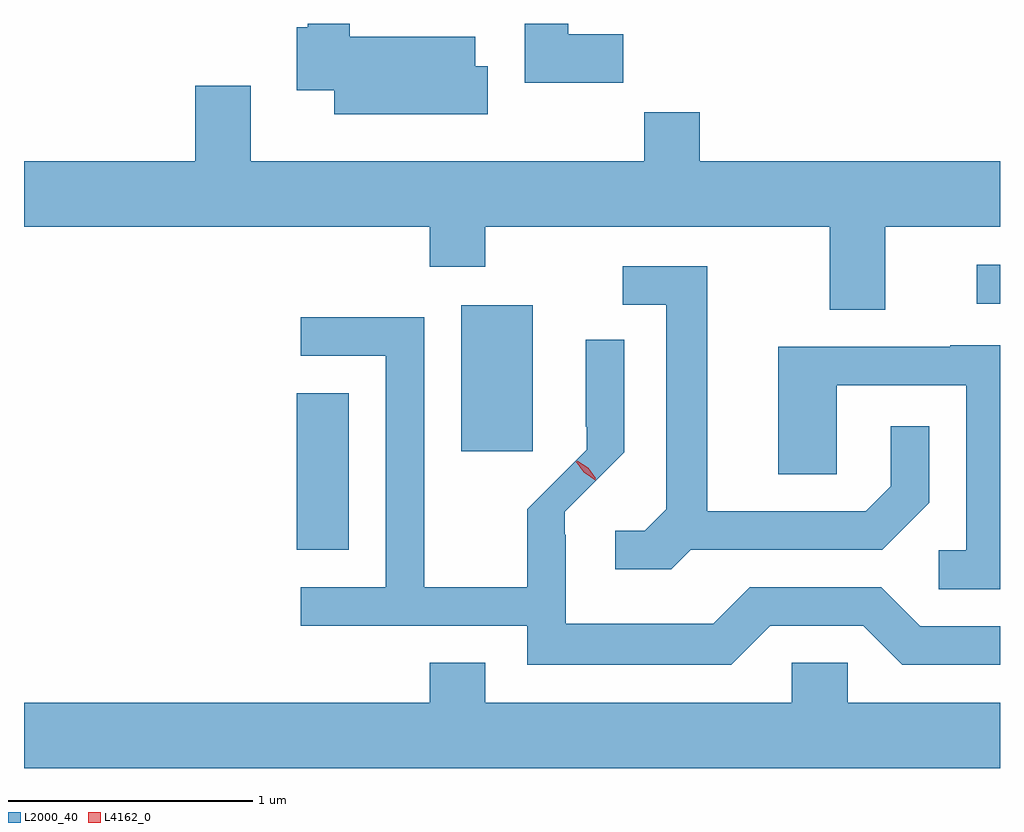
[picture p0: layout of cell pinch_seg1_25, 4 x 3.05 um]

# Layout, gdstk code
import gdstk
lib = gdstk.Library(unit=1e-6, precision=1e-09)
def R(c, l, rs):  # rectangles x0, y0, x1, y1
    for r in rs: c.add(gdstk.rectangle(r[:2], r[2:], *l))
def P(c, l, *ps):  # polygons
    for p in ps: c.add(gdstk.Polygon(p, *l))
L2000_40 = (2000, 40)
L4162_0 = (4162, 0)

pinch_seg1_25 = lib.new_cell('pinch_seg1_25')
R(pinch_seg1_25, L2000_40, [(1104.036,938.211,1104.249,938.854), (1104.711,938.616,1105.004,939.214), (1106.823,939.221,1106.919,939.379)])
P(pinch_seg1_25, L2000_40, [(1105.374,940.324),(1105.149,940.324),(1105.149,940.368),(1104.971,940.368),(1104.971,940.126),(1105.374,940.126)],
  [(1104.819,940.194),(1104.769,940.194),(1104.769,940.314),(1104.254,940.314),(1104.254,940.368),(1104.081,940.368),(1104.081,940.354),(1104.036,940.354),(1104.036,940.096),(1104.191,940.096),(1104.191,939.996),(1104.819,939.996)],
  [(1106.449,939.536),(1106.919,939.536),(1106.919,939.804),(1105.689,939.804),(1105.689,940.004),(1105.461,940.004),(1105.461,939.804),(1103.849,939.804),(1103.849,940.114),(1103.621,940.114),(1103.621,939.804),(1102.919,939.804),(1102.919,939.536),(1104.581,939.536),(1104.581,939.371),(1104.809,939.371),(1104.809,939.536),(1106.221,939.536),(1106.221,939.196),(1106.449,939.196)],
  [(1105.652,938.211),(1106.437,938.211),(1106.629,938.404),(1106.629,938.718),(1106.471,938.718),(1106.471,938.472),(1106.369,938.369),(1105.719,938.369),(1105.719,939.374),(1105.373,939.374),(1105.373,939.216),(1105.551,939.216),(1105.551,938.377),(1105.464,938.289),(1105.343,938.289),(1105.343,938.131),(1105.572,938.131)],
  [(1105.977,937.901),(1106.359,937.901),(1106.519,937.741),(1106.919,937.741),(1106.919,937.899),(1106.592,937.899),(1106.432,938.059),(1105.894,938.059),(1105.744,937.909),(1105.139,937.909),(1105.139,938.273),(1105.135,938.273),(1105.135,938.368),(1105.379,938.612),(1105.379,939.073),(1105.221,939.073),(1105.221,938.715),(1105.225,938.715),(1105.225,938.621),(1104.981,938.377),(1104.981,938.059),(1104.559,938.059),(1104.559,939.164),(1104.053,939.164),(1104.053,939.006),(1104.401,939.006),(1104.401,938.059),(1104.053,938.059),(1104.053,937.901),(1104.981,937.901),(1104.981,937.741),(1105.817,937.741)],
  [(1106.919,939.049),(1106.715,939.049),(1106.715,939.044),(1106.011,939.044),(1106.011,938.521),(1106.249,938.521),(1106.249,938.886),(1106.781,938.886),(1106.781,938.209),(1106.668,938.209),(1106.668,938.051),(1106.919,938.051)],
  [(1106.919,937.584),(1106.294,937.584),(1106.294,937.749),(1106.066,937.749),(1106.066,937.584),(1104.809,937.584),(1104.809,937.749),(1104.581,937.749),(1104.581,937.584),(1102.919,937.584),(1102.919,937.316),(1106.919,937.316)])
P(pinch_seg1_25, L4162_0, [(1105.261,938.496),(1105.214,938.529),(1105.18,938.575),(1105.18,938.575),(1105.181,938.575),(1105.228,938.543),(1105.262,938.497),(1105.262,938.496)],
  [(1105.262,938.503),(1105.217,938.532),(1105.187,938.575),(1105.187,938.576),(1105.187,938.576),(1105.232,938.547),(1105.262,938.504),(1105.262,938.503)])

lib.write_gds('pinch_seg1_25.gds')
